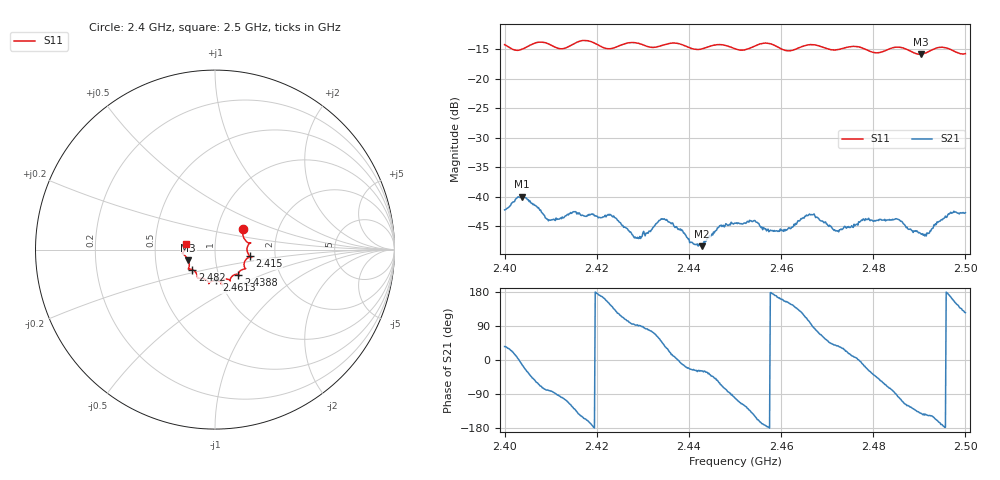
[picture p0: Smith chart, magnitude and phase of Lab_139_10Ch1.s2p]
# Hz S RI R 50
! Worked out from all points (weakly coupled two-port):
!   601 points, 2.4 GHz to 2.5 GHz, reference 50 ohm
!   highest |S21| = -39.98 dB at 2.4038 GHz (marker M1); lowest = -48.3 dB at 2.4428 GHz (marker M2)
!   lowest |S11| = -15.9 dB at 2.4903 GHz (marker M3), VSWR 1.38, Z = 36.8 - j4.45 ohm
!   |S11| at or under -10 dB: start of sweep to end of sweep
!   S12 and S22 are empty: the file has one direction only
!   S11 on the Smith chart (normalised r, x): 2.4 GHz: 1.33, +0.31; 2.415 GHz: 1.47, -0.11; 2.4388 GHz: 1.24, -0.36; 2.4613 GHz: 0.96, -0.34; 2.482 GHz: 0.76, -0.17; 2.5 GHz: 0.72, +0.05
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2.4e9  0.1573 0.1123  0.00632 0.00451  0 0  0 0
2.403833e9  0.1699 0.0509  0.00975 -0.00236  0 0  0 0
2.4095e9  0.1932 0.0347  0.0011 -0.00618  0 0  0 0
2.415e9  0.1928 -0.036  -0.00466 -0.00588  0 0  0 0
2.416667e9  0.2039 -0.044  -0.00589 -0.0037  0 0  0 0
2.423333e9  0.1624 -0.0769  -0.00534 0.0043  0 0  0 0
2.428667e9  0.1693 -0.1061  -0.000175 0.00447  0 0  0 0
2.433333e9  0.132 -0.1315  0.00315 0.00529  0 0  0 0
2.438833e9  0.1296 -0.1403  0.00482 -0.00111  0 0  0 0
2.442833e9  0.092 -0.1523  0.00337 -0.00182  0 0  0 0
2.446667e9  0.0843 -0.1741  0.00279 -0.00498  0 0  0 0
2.45e9  0.069 -0.1646  -0.00111 -0.0059  0 0  0 0
2.454e9  0.0346 -0.1831  -0.00502 -0.00375  0 0  0 0
2.456833e9  0.0384 -0.1952  -0.00514 -0.000497  0 0  0 0
2.461333e9  0.00768 -0.1714  -0.0047 0.0024  0 0  0 0
2.466667e9  -0.0348 -0.1902  -0.00019 0.00707  0 0  0 0
2.472e9  -0.066 -0.1616  0.00411 0.00316  0 0  0 0
2.482e9  -0.1261 -0.1116  0.00331 -0.00544  0 0  0 0
2.483333e9  -0.1396 -0.1087  0.00193 -0.00609  0 0  0 0
2.490333e9  -0.149 -0.0589  -0.00377 -0.00309  0 0  0 0
2.494833e9  -0.1825 -0.0201  -0.00634 -0.00113  0 0  0 0
2.5e9  -0.1588 0.0328  -0.00421 0.00603  0 0  0 0
